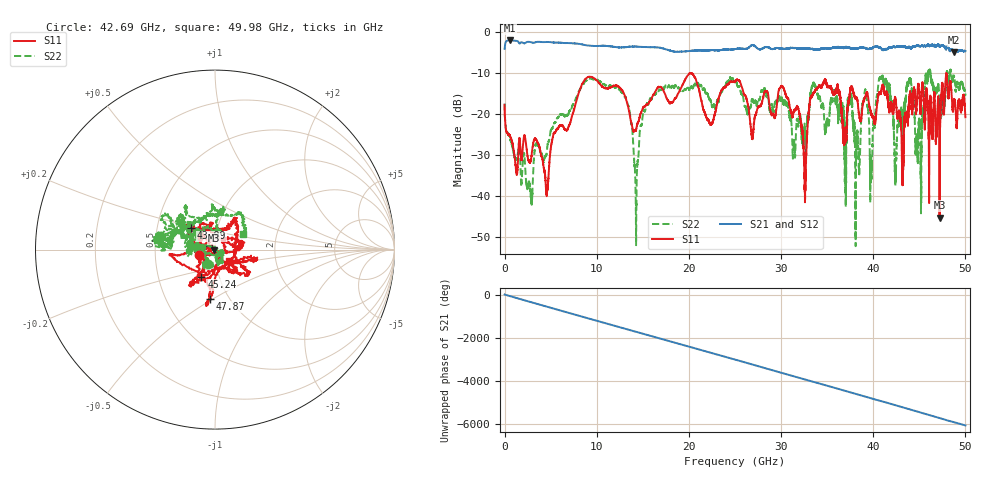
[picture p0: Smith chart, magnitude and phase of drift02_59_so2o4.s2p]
!Created with skrf (http://scikit-rf.org).
# Hz S RI R 50.0
!freq ReS11 ImS11 ReS21 ImS21 ReS12 ImS12 ReS22 ImS22
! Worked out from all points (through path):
!   10001 points, 300 kHz to 50 GHz, reference 50 ohm
!   highest |S21| = -1.99 dB at 585.3 MHz (marker M1); lowest = -4.9 dB at 48.77 GHz (marker M2)
!   group delay of S21, straight-line fit = 337 ps
!   lowest |S11| = -45.3 dB at 47.2 GHz (marker M3), VSWR 1.01, Z = 49.6 - j0.368 ohm
!   |S11| at or under -10 dB: start of sweep to 20.07 GHz; 20.24 GHz to 47.91 GHz (27.67 GHz wide, 81.2 % of centre); 47.92 GHz to end of sweep (the widest 3 of 6)
!   |S22| runs from -52.3 to -9.0 dB; largest |S21 - S12| = 0.032
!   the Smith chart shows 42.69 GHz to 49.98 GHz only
!   S11 on the Smith chart (normalised r, x): 42.69 GHz: 0.83, -0.05; 43.99 GHz: 0.75, +0.19; 45.24 GHz: 0.82, -0.26; 47.87 GHz: 0.81, -0.48; 49.98 GHz: 1.16, -0.15
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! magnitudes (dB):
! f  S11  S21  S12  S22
! 300 kHz  -17.7  -4.0  -4.0  -17.4
! 585.3 MHz  -25.2  -2.0  -2.0  -26.0
! 4.575 GHz  -39.5  -2.4  -2.4  -29.0
! 8.335 GHz  -13.0  -2.9  -2.9  -13.2
! 13 GHz  -15.3  -3.7  -3.6  -15.6
! 14.28 GHz  -23.8  -3.5  -3.5  -49.8
! 16.67 GHz  -13.4  -3.7  -3.7  -14.5
! 25 GHz  -12.1  -4.1  -4.1  -12.2
! 26.86 GHz  -25.9  -3.1  -3.1  -16.5
! 30.19 GHz  -13.4  -4.1  -4.1  -16.7
! 32.57 GHz  -38.1  -3.9  -4.0  -24.6
! 33.34 GHz  -15.8  -4.0  -4.0  -13.6
! 38.29 GHz  -16.8  -3.9  -3.9  -23.8
! 41.67 GHz  -18.4  -3.8  -3.9  -13.0
! 42.69 GHz  -20.4  -3.5  -3.5  -20.9
! 43.99 GHz  -15.0  -3.7  -3.7  -11.1
! 45.24 GHz  -15.4  -3.3  -3.3  -29.1
! 47.2 GHz  -45.3  -3.5  -3.4  -16.2
! 47.87 GHz  -11.2  -4.0  -4.0  -13.1
! 48.77 GHz  -17.0  -4.9  -4.8  -10.8
! 49.98 GHz  -19.9  -4.6  -4.6  -14.8
! 50 GHz  -20.8  -4.6  -4.6  -15.2
